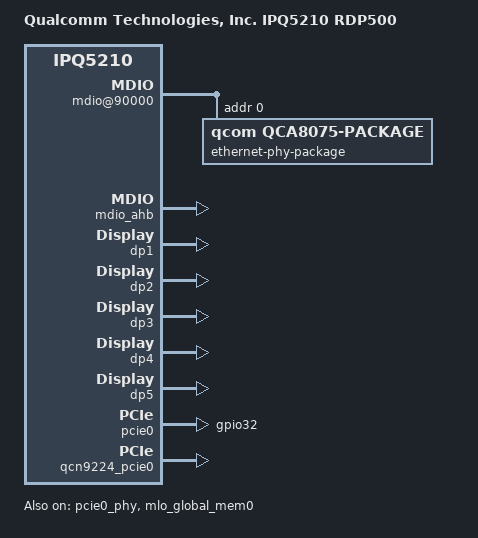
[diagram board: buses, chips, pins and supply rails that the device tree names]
// SPDX-License-Identifier: (GPL-2.0+ OR BSD-3-Clause)
/*
 * IPQ5210 RDP500 board device tree source
 *
 * Copyright (c) 2020-2021 The Linux Foundation. All rights reserved.
 * Copyright (c) Qualcomm Technologies, Inc. and/or its subsidiaries.
 */

/dts-v1/;

#include "ipq5210-rdp-common.dtsi"
#include "ipq5210-default-memory.dtsi"

/ {
	model = "Qualcomm Technologies, Inc. IPQ5210 RDP500";
	compatible = "qcom,ipq5210-rdp500", "qcom,ipq5210";

	aliases {
		serial0 = &uart1;
		ethernet0 = "/soc/dp1";
		ethernet1 = "/soc/dp2";
		ethernet2 = "/soc/dp3";
		ethernet3 = "/soc/dp4";
		ethernet4 = "/soc/dp5";
	};

	soc@0 {
		mdio@90000 {
			status = "okay";
			/* gpio reset for Malibu PHY */
			phy-reset-gpio = <&tlmm 24 GPIO_ACTIVE_LOW>;

			ethernet-phy-package@0 {
				compatible = "qcom,qca8075-package";
				#address-cells = <1>;
				#size-cells = <0>;
				reg = <0x0>;
				qcom,package-mode = "psgmii";
				phy0: ethernet-phy@0 {
					reg = <0x0>;
				};
				phy1: ethernet-phy@1 {
					reg = <1>;
				};
				phy2: ethernet-phy@2 {
					reg = <2>;
				};
			};
		};

		mdio_ahb: mdio-ahb@1400000 {
			status = "okay";
			compatible = "qcom,mdio-ahb-ipq52xx";
			reg = <0x1400000 0x200000>;  /* Base address: 0x1400000, Size: 2MB */
		};

		ess-instance {
			num_devices = <0x1>;

			ess_switch: ess-switch@3a000000 {
				switch_lan_bmp = <0x1e>; /* lan port bitmap */
				switch_wan_bmp = <0x40>; /* wan port bitmap */
				switch_mac_mode = <0x0>; /* PSGMII for malibu PHY */
				switch_mac_mode1 = <0xff>; /* unused */
				switch_mac_mode2 = <0xff>;

				qcom,port_phyinfo {
					port@0 {
						port_id = <1>;
						phy_address = <0>;
						phy-handle = <&phy0>;
						phy-mode = "psgmii";
					};
					port@1 {
						port_id = <2>;
						phy_address = <1>;
						phy-handle = <&phy1>;
						phy-mode = "psgmii";
					};
					port@2 {
						port_id = <3>;
						phy_address = <2>;
						phy-handle = <&phy2>;
						phy-mode = "psgmii";
					};
					port@3 {
						port_id = <4>;
						phy-mode = "internal";
					};
					port@5 {
						port_id = <6>;
						forced-speed = <10000>;
						forced-duplex = <1>;
						fixed-link {
							speed = <10000>;
							full-duplex;
							pause;
						};
					};
				};
			};
		};

		dp1 {
			device_type = "network";
			compatible = "qcom,nss-dp";
			qcom,id = <1>;
			reg = <0x3a001000 0x200>;
			qcom,mactype = <0>;
			local-mac-address = [000000000000];
			qcom,ppe-offload-disabled = <0>;
		};

		dp2 {
			device_type = "network";
			compatible = "qcom,nss-dp";
			qcom,id = <2>;
			reg = <0x3a001200 0x200>;
			qcom,mactype = <0>;
			qcom,ppe-offload-disabled = <0>;
		};


		dp3 {
			device_type = "network";
			compatible = "qcom,nss-dp";
			qcom,id = <3>;
			reg = <0x3a001400 0x200>;
			qcom,mactype = <0>;
			local-mac-address = [000000000000];
			qcom,ppe-offload-disabled = <0>;
		};

		dp4 {
			device_type = "network";
			compatible = "qcom,nss-dp";
			qcom,id = <4>;
			reg = <0x3a001600 0x200>;
			qcom,mactype = <0>;
			local-mac-address = [000000000000];
			qcom,ppe-offload-disabled = <0>;
		};

		dp5 {
			device_type = "network";
			compatible = "qcom,nss-dp";
			qcom,id = <6>;
			reg = <0x3A508000 0x4000>;
			qcom,mactype = <1>;
			local-mac-address = [000000000000];
			qcom,ppe-offload-disabled = <0>;
			qcom,gem_port = <1>;
			pinctrl-0 = <&pps_state>;
			pinctrl-names = "default";
			pps-gpio = <&tlmm 18 GPIO_ACTIVE_LOW>;
			interrupts = <GIC_SPI 359 IRQ_TYPE_EDGE_RISING>;
			interrupt-names = "pps_in";
			clocks = <&nsscc NSS_CC_XGMAC2_PTP_REF_CLK>;
			clock-names = "ptp";
		};
	};
};

&nsscc {
	assigned-clocks = <&nsscc NSS_CC_EPHY_RX_CLK_SRC>,
			  <&nsscc NSS_CC_EPHY_TX_CLK_SRC>;
	assigned-clock-parents = <&nsscc NSS_CC_PORT4_RX_DIV_CLK_SRC>,
				 <&nsscc NSS_CC_PORT4_TX_DIV_CLK_SRC>;
};

&tlmm {
	pcie0_default_state: pcie0-default-state {
		pins = "gpio32";
		function = "gpio";
		drive-strength = <6>;
		bias-pull-down;
		output-low;
	};
};

&pcie0_phy {
	status = "okay";
};

&pcie0 {
	pinctrl-0 = <&pcie0_default_state>;
	perst-gpio = <&tlmm 32 GPIO_ACTIVE_LOW>;
	status = "okay";

	pcie0_rp {
		reg = <0 0 0 0 0>;
		qcom,mhi@0 {
			reg = <0 0 0 0 0>;
			memory-region = <&qcn9224_pcie0>, <&mlo_global_mem0>;
			memory-region-names = "host-ddr-mem", "mlo-global-mem";
			qcom,board_id = <0x1041>;
			status = "okay";
			ports {
				#address-cells = <1>;
				#size-cells = <0>;

				port@0 {
					reg = <0>;
				};

				port@1 {
					reg = <1>;
				};
			};
		};
	};
};

&qcn9224_pcie0 {
	status = "okay";
};

&mlo_global_mem0 {
	status = "okay";
};
